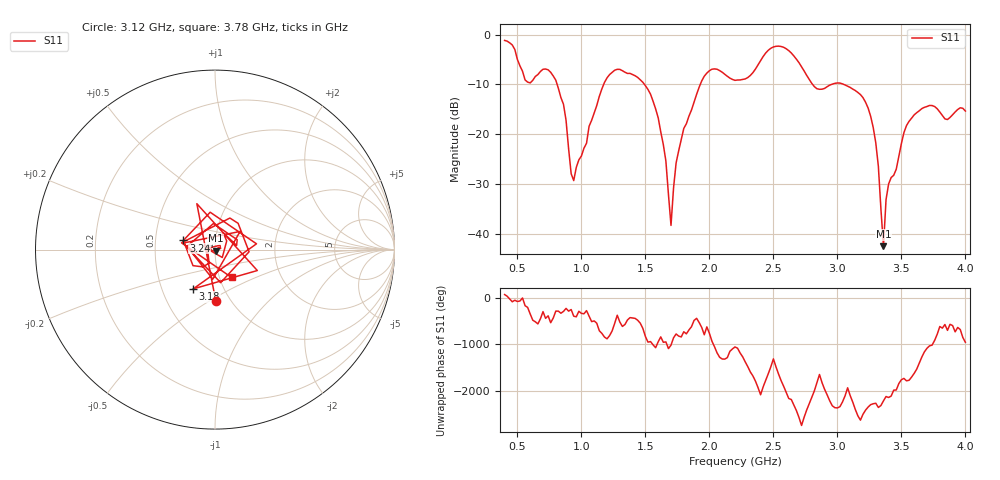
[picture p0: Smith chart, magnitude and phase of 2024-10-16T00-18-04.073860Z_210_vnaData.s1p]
! Created with skrf (http://scikit-rf.org).
# Hz S RI R 50.0
!freq ReS11 ImS11
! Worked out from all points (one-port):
!   181 points, 400 MHz to 4 GHz, reference 50 ohm
!   lowest |S11| = -42.4 dB at 3.36 GHz (marker M1), VSWR 1.02, Z = 50.4 - j0.674 ohm
!   |S11| at or under -10 dB: 810.6 MHz to 1.174 GHz (363.1 MHz wide, 36.6 % of centre); 1.493 GHz to 1.929 GHz (435.4 MHz wide, 25.5 % of centre); 3.051 GHz to end of sweep (the widest 3 of 4)
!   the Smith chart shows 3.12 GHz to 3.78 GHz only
!   S11 on the Smith chart (normalised r, x): 3.12 GHz: 0.86, -0.53; 3.18 GHz: 0.72, -0.34; 3.24 GHz: 0.70, +0.07; 3.78 GHz: 1.14, -0.37
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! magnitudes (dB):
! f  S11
! 400 MHz  -1.2
! 580 MHz  -9.5
! 760 MHz  -7.6
! 860 MHz  -14.0
! 940 MHz  -29.3
! 1.18 GHz  -9.6
! 1.3 GHz  -7.0
! 1.58 GHz  -14.9
! 1.66 GHz  -25.3
! 1.7 GHz  -38.2
! 1.72 GHz  -30.7
! 1.76 GHz  -23.3
! 1.96 GHz  -8.3
! 2.2 GHz  -9.2
! 2.5 GHz  -2.5
! 2.66 GHz  -4.3
! 2.84 GHz  -10.8
! 3.1 GHz  -10.6
! 3.12 GHz  -10.9
! 3.18 GHz  -12.0
! 3.24 GHz  -14.7
! 3.3 GHz  -21.7
! 3.36 GHz  -42.4
! 3.38 GHz  -33.1
! 3.4 GHz  -30.0
! 3.56 GHz  -17.4
! 3.78 GHz  -14.9
! 4 GHz  -15.3
